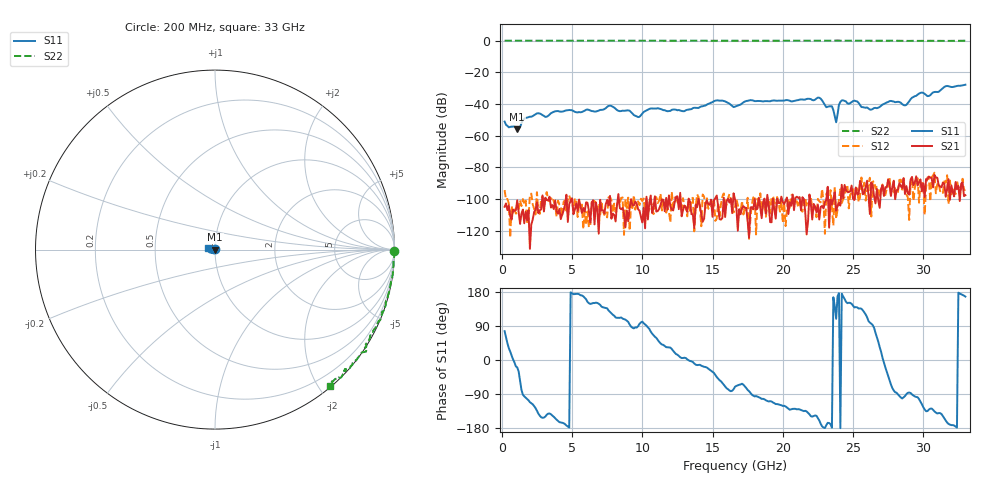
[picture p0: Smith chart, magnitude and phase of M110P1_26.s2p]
# GHZ S RI R 50
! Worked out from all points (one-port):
!   329 points, 200 MHz to 33 GHz, reference 50 ohm
!   lowest |S11| = -56.0 dB at 1.1 GHz (marker M1), VSWR 1.00, Z = 50.1 - j0.0536 ohm
!   |S11| at or under -10 dB: start of sweep to end of sweep
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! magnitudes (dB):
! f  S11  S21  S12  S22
! 200 MHz  -51.1  -105.0  -94.4  0.0
! 1.1 GHz  -56.0  -100.9  -108.8  0.0
! 1.6 GHz  -49.4  -115.4  -103.3  0.0
! 2.5 GHz  -46.0  -102.1  -95.7  0.0
! 5.7 GHz  -45.1  -108.8  -103.6  0.0
! 7.7 GHz  -41.1  -98.1  -98.9  0.0
! 9.7 GHz  -48.3  -106.5  -101.5  0.0
! 11.2 GHz  -42.9  -106.3  -101.1  0.0
! 13 GHz  -44.6  -104.2  -104.6  0.0
! 15.3 GHz  -37.8  -97.9  -112.5  0.0
! 16.6 GHz  -41.7  -100.2  -105.0  0.0
! 17.7 GHz  -37.6  -105.4  -112.6  -0.1
! 22.1 GHz  -37.5  -113.0  -105.8  -0.1
! 23.5 GHz  -41.5  -103.6  -106.0  0.0
! 23.8 GHz  -51.6  -107.5  -112.5  0.1
! 24 GHz  -40.5  -102.6  -99.9  0.0
! 24.2 GHz  -37.8  -91.1  -102.7  0.0
! 26.3 GHz  -43.6  -89.5  -111.1  0.0
! 27.6 GHz  -38.2  -90.6  -86.5  0.0
! 28.7 GHz  -40.9  -96.9  -95.5  -0.1
! 29.8 GHz  -33.0  -87.7  -90.1  -0.1
! 33 GHz  -27.8  -97.7  -94.3  0.0
